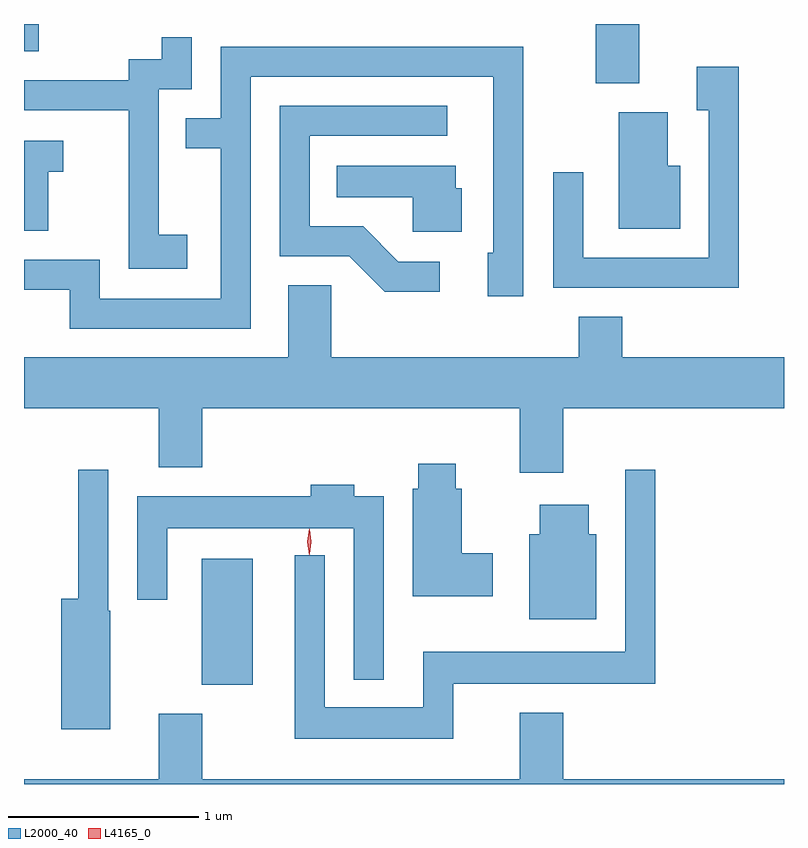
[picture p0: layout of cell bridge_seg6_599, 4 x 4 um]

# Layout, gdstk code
import gdstk
lib = gdstk.Library(unit=1e-6, precision=1e-09)
def R(c, l, rs):  # rectangles x0, y0, x1, y1
    for r in rs: c.add(gdstk.rectangle(r[:2], r[2:], *l))
def P(c, l, *ps):  # polygons
    for p in ps: c.add(gdstk.Polygon(p, *l))
L2000_40 = (2000, 40)
L4165_0 = (4165, 0)

bridge_seg6_599 = lib.new_cell('bridge_seg6_599')
R(bridge_seg6_599, L2000_40, [(521.626,1630.721,521.894,1631.384), (523.701,1633.886,523.929,1634.199), (520.691,1634.056,520.769,1634.199)])
P(bridge_seg6_599, L2000_40, [(521.549,1633.089),(521.399,1633.089),(521.399,1633.856),(521.574,1633.856),(521.574,1634.128),(521.416,1634.128),(521.416,1634.014),(521.241,1634.014),(521.241,1633.904),(520.691,1633.904),(520.691,1633.746),(521.241,1633.746),(521.241,1632.911),(521.549,1632.911)],
  [(521.884,1633.921),(523.161,1633.921),(523.161,1632.994),(523.131,1632.994),(523.131,1632.766),(523.319,1632.766),(523.319,1634.079),(521.726,1634.079),(521.726,1633.704),(521.543,1633.704),(521.543,1633.546),(521.726,1633.546),(521.726,1632.754),(521.089,1632.754),(521.089,1632.959),(520.691,1632.959),(520.691,1632.801),(520.931,1632.801),(520.931,1632.596),(521.884,1632.596)],
  [(524.454,1633.974),(524.231,1633.974),(524.231,1633.746),(524.296,1633.746),(524.296,1632.969),(523.634,1632.969),(523.634,1633.418),(523.476,1633.418),(523.476,1632.811),(524.454,1632.811)],
  [(522.878,1632.949),(522.662,1632.949),(522.477,1633.134),(522.194,1633.134),(522.194,1633.611),(522.918,1633.611),(522.918,1633.769),(522.036,1633.769),(522.036,1632.976),(522.404,1632.976),(522.589,1632.791),(522.878,1632.791)],
  [(524.144,1633.454),(524.079,1633.454),(524.079,1633.734),(523.821,1633.734),(523.821,1633.121),(524.144,1633.121)],
  [(520.819,1633.421),(520.898,1633.421),(520.898,1633.584),(520.691,1633.584),(520.691,1633.111),(520.819,1633.111)],
  [(522.994,1633.334),(522.964,1633.334),(522.964,1633.454),(522.338,1633.454),(522.338,1633.286),(522.736,1633.286),(522.736,1633.106),(522.994,1633.106)],
  [(523.529,1632.176),(524.691,1632.176),(524.691,1632.444),(523.839,1632.444),(523.839,1632.659),(523.611,1632.659),(523.611,1632.444),(522.309,1632.444),(522.309,1632.824),(522.081,1632.824),(522.081,1632.444),(520.691,1632.444),(520.691,1632.176),(521.401,1632.176),(521.401,1631.866),(521.629,1631.866),(521.629,1632.176),(523.301,1632.176),(523.301,1631.836),(523.529,1631.836)],
  [(523.159,1631.414),(522.994,1631.414),(522.994,1631.754),(522.964,1631.754),(522.964,1631.884),(522.766,1631.884),(522.766,1631.754),(522.736,1631.754),(522.736,1631.186),(523.159,1631.186)],
  [(522.949,1630.726),(524.014,1630.726),(524.014,1631.853),(523.856,1631.853),(523.856,1630.894),(522.791,1630.894),(522.791,1630.604),(522.274,1630.604),(522.274,1631.403),(522.116,1631.403),(522.116,1630.436),(522.949,1630.436)],
  [(521.144,1631.11),(521.134,1631.11),(521.134,1631.853),(520.976,1631.853),(520.976,1631.174),(520.886,1631.174),(520.886,1630.486),(521.144,1630.486)],
  [(522.584,1631.714),(522.429,1631.714),(522.429,1631.774),(522.201,1631.774),(522.201,1631.714),(521.286,1631.714),(521.286,1631.168),(521.444,1631.168),(521.444,1631.546),(522.426,1631.546),(522.426,1630.748),(522.584,1630.748)],
  [(523.704,1631.514),(523.664,1631.514),(523.664,1631.669),(523.406,1631.669),(523.406,1631.514),(523.351,1631.514),(523.351,1631.066),(523.704,1631.066)],
  [(524.691,1630.224),(523.529,1630.224),(523.529,1630.574),(523.301,1630.574),(523.301,1630.224),(521.629,1630.224),(521.629,1630.569),(521.401,1630.569),(521.401,1630.224),(520.691,1630.224),(520.691,1630.199),(524.691,1630.199)])
P(bridge_seg6_599, L4165_0, [(522.192,1631.404),(522.192,1631.404),(522.182,1631.473),(522.192,1631.542),(522.192,1631.543),(522.193,1631.542),(522.202,1631.473),(522.193,1631.404)],
  [(522.193,1631.407),(522.184,1631.474),(522.193,1631.54),(522.194,1631.54),(522.194,1631.54),(522.204,1631.474),(522.194,1631.407),(522.194,1631.407)])

lib.write_gds('bridge_seg6_599.gds')
